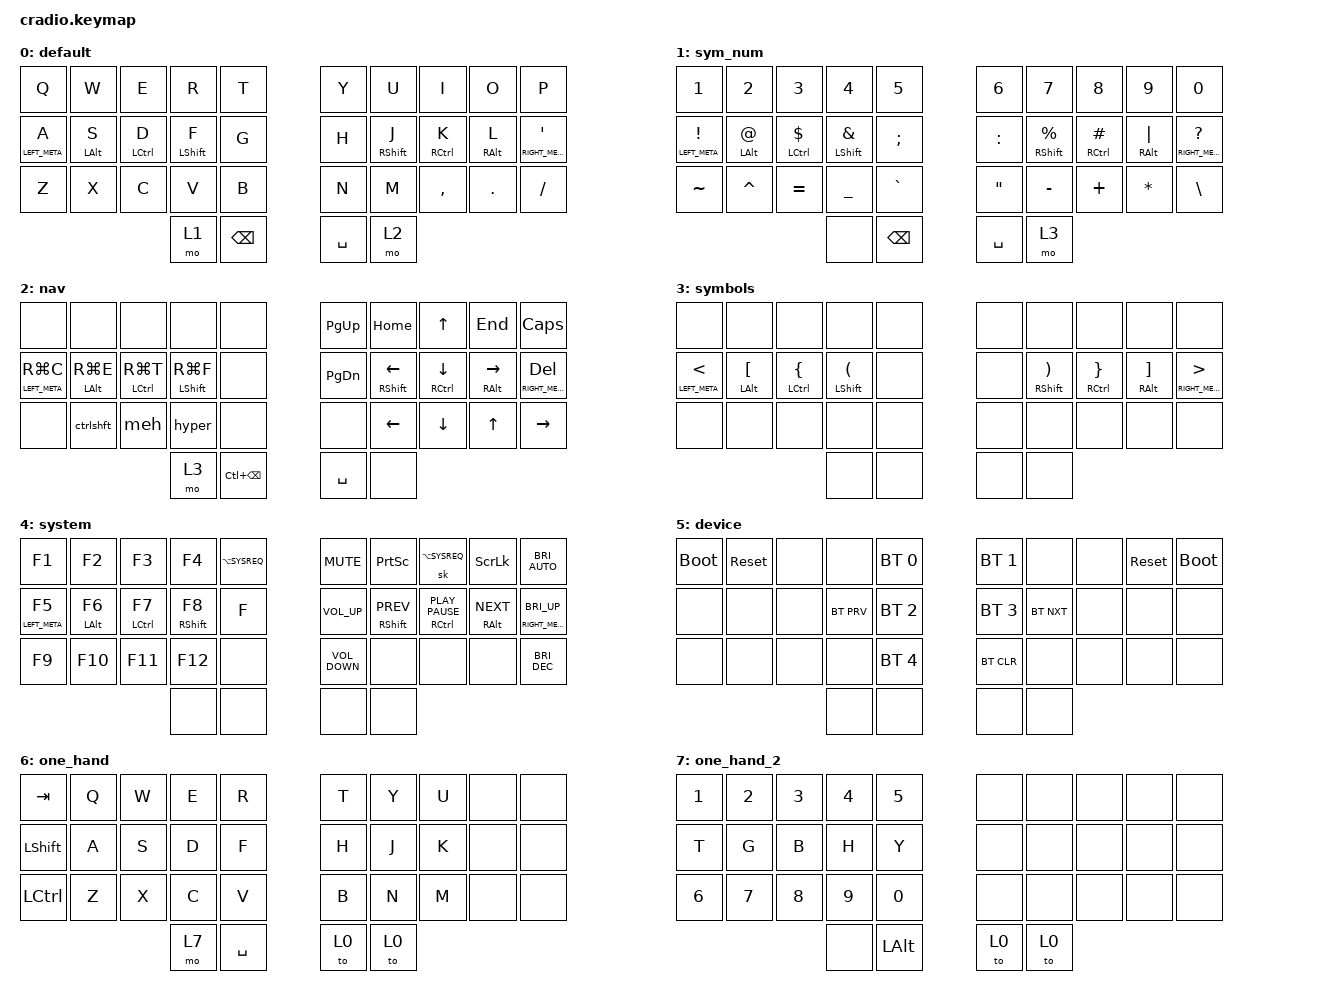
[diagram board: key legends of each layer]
/*
 * Copyright (c) 2020 The ZMK Contributors
 *
 * SPDX-License-Identifier: MIT
 */

#include <behaviors.dtsi>
#include <dt-bindings/zmk/bt.h>
#include <dt-bindings/zmk/keys.h>

/ {
    behaviors {
        hm: homerow_mods {
            compatible = "zmk,behavior-hold-tap";
            label = "HOMEROW_MODS";
            #binding-cells = <2>;
            tapping-term-ms = <150>;
            quick-tap-ms = <0>;
            flavor = "tap-preferred";
            bindings = <&kp>, <&kp>;
        };
    };

    combos {
        compatible = "zmk,combos";

        esc {
            timeout-ms = <50>;
            key-positions = <1 2 3>;
            bindings = <&kp ESC>;
        };

        tab {
            timeout-ms = <50>;
            key-positions = <21 22 23>;
            bindings = <&kp TAB>;
        };

        del {
            bindings = <&kp DEL>;
            key-positions = <8 7 6>;
        };

        enter {
            bindings = <&kp ENTER>;
            key-positions = <28 27 26>;
        };

        hold_layer_device {
            bindings = <&mo 5>;
            key-positions = <31 32>;
        };

        hold_layer_system {
            bindings = <&mo 4>;
            key-positions = <32 33>;
        };

        toggle_layer_onehand {
            bindings = <&to 6>;
            key-positions = <31 30>;
        };
    };

    macros {
        hyper: hyper {
            compatible = "zmk,behavior-macro";
            label = "new_macro";
            #binding-cells = <0>;
            bindings = <&sk LEFT_META &sk LEFT_ALT &sk LEFT_CONTROL &sk LEFT_SHIFT>;
        };

        meh: meh {
            compatible = "zmk,behavior-macro";
            label = "new_macro";
            #binding-cells = <0>;
            bindings = <&sk LEFT_ALT &sk LEFT_CONTROL &sk LEFT_SHIFT>;
        };

        ctrlshft: ctrlshft {
            compatible = "zmk,behavior-macro";
            label = "new_macro";
            #binding-cells = <0>;
            bindings = <&sk LEFT_CONTROL &sk LEFT_SHIFT>;
        };
    };

    keymap {
        compatible = "zmk,keymap";

        default {
            bindings = <
&kp Q            &kp W           &kp E               &kp R             &kp T          &kp Y      &kp U              &kp I                &kp O            &kp P
&hm LEFT_META A  &hm LEFT_ALT S  &hm LEFT_CONTROL D  &hm LEFT_SHIFT F  &kp G          &kp H      &hm RIGHT_SHIFT J  &hm RIGHT_CONTROL K  &hm RIGHT_ALT L  &hm RIGHT_META SINGLE_QUOTE
&kp Z            &kp X           &kp C               &kp V             &kp B          &kp N      &kp M              &kp COMMA            &kp DOT          &kp SLASH
                                                     &mo 1             &kp BACKSPACE  &kp SPACE  &mo 2
            >;
        };

        sym_num {
            bindings = <
&kp NUMBER_1               &kp NUMBER_2     &kp NUMBER_3             &kp NUMBER_4              &kp NUMBER_5   &kp NUMBER_6       &kp NUMBER_7             &kp NUMBER_8             &kp NUMBER_9        &kp NUMBER_0
&hm LEFT_META EXCLAMATION  &hm LEFT_ALT AT  &hm LEFT_CONTROL DOLLAR  &hm LEFT_SHIFT AMPERSAND  &kp SEMICOLON  &kp COLON          &hm RIGHT_SHIFT PERCENT  &hm RIGHT_CONTROL POUND  &hm RIGHT_ALT PIPE  &hm RIGHT_META QUESTION
&kp TILDE                  &kp CARET        &kp EQUAL                &kp UNDERSCORE            &kp GRAVE      &kp DOUBLE_QUOTES  &kp MINUS                &kp PLUS                 &kp ASTERISK        &kp BACKSLASH
                                                                     &none                     &kp BACKSPACE  &kp SPACE          &mo 3
            >;
        };

        nav {
            bindings = <
&none                &none               &none                   &none                 &none              &kp PAGE_UP    &kp HOME              &kp UP                  &kp END              &kp CAPSLOCK
&hm LEFT_META RG(C)  &hm LEFT_ALT RG(E)  &hm LEFT_CONTROL RG(T)  &hm LEFT_SHIFT RG(F)  &none              &kp PAGE_DOWN  &hm RIGHT_SHIFT LEFT  &hm RIGHT_CONTROL DOWN  &hm RIGHT_ALT RIGHT  &hm RIGHT_META DELETE
&none                &ctrlshft           &meh                    &hyper                &none              &none          &kp LEFT              &kp DOWN                &kp UP               &kp RIGHT
                                                                 &mo 3                 &kp LC(BACKSPACE)  &kp SPACE      &none
            >;
        };

        symbols {
            bindings = <
&none                    &none                      &none                        &none                            &none  &none  &none                              &none                          &none                        &none
&hm LEFT_META LESS_THAN  &hm LEFT_ALT LEFT_BRACKET  &hm LEFT_CONTROL LEFT_BRACE  &hm LEFT_SHIFT LEFT_PARENTHESIS  &none  &none  &hm RIGHT_SHIFT RIGHT_PARENTHESIS  &hm RIGHT_CONTROL RIGHT_BRACE  &hm RIGHT_ALT RIGHT_BRACKET  &hm RIGHT_META GREATER_THAN
&none                    &none                      &none                        &none                            &none  &none  &none                              &none                          &none                        &none
                                                                                 &none                            &none  &none  &none
            >;
        };

        system {
            bindings = <
&kp F1            &kp F2           &kp F3               &kp F4              &kp LA(SYSREQ)  &kp K_MUTE         &kp PRINTSCREEN         &sk LA(SYSREQ)                  &kp SCROLLLOCK        &kp C_BRIGHTNESS_AUTO
&hm LEFT_META F5  &hm LEFT_ALT F6  &hm LEFT_CONTROL F7  &hm RIGHT_SHIFT F8  &kp F           &kp K_VOLUME_UP    &hm RIGHT_SHIFT K_PREV  &hm RIGHT_CONTROL K_PLAY_PAUSE  &hm RIGHT_ALT K_NEXT  &hm RIGHT_META C_BRI_UP
&kp F9            &kp F10          &kp F11              &kp F12             &none           &kp K_VOLUME_DOWN  &none                   &none                           &none                 &kp C_BRIGHTNESS_DEC
                                                        &none               &none           &none              &none
            >;
        };

        device {
            bindings = <
&bootloader  &sys_reset  &none  &none       &bt BT_SEL 0  &bt BT_SEL 1  &none       &none  &sys_reset  &bootloader
&none        &none       &none  &bt BT_PRV  &bt BT_SEL 2  &bt BT_SEL 3  &bt BT_NXT  &none  &none       &none
&none        &none       &none  &none       &bt BT_SEL 4  &bt BT_CLR    &none       &none  &none       &none
                                &none       &none         &none         &none
            >;
        };

        one_hand {
            bindings = <
&kp TAB           &kp Q  &kp W  &kp E  &kp R      &kp T  &kp Y  &kp U  &none  &none
&kp LEFT_SHIFT    &kp A  &kp S  &kp D  &kp F      &kp H  &kp J  &kp K  &none  &none
&kp LEFT_CONTROL  &kp Z  &kp X  &kp C  &kp V      &kp B  &kp N  &kp M  &none  &none
                                &mo 7  &kp SPACE  &to 0  &to 0
            >;
        };

        one_hand_2 {
            bindings = <
&kp N1  &kp N2  &kp N3  &kp N4  &kp N5        &none  &none  &none  &none  &none
&kp T   &kp G   &kp B   &kp H   &kp Y         &none  &none  &none  &none  &none
&kp N6  &kp N7  &kp N8  &kp N9  &kp N0        &none  &none  &none  &none  &none
                        &none   &kp LEFT_ALT  &to 0  &to 0
            >;
        };
    };
};
